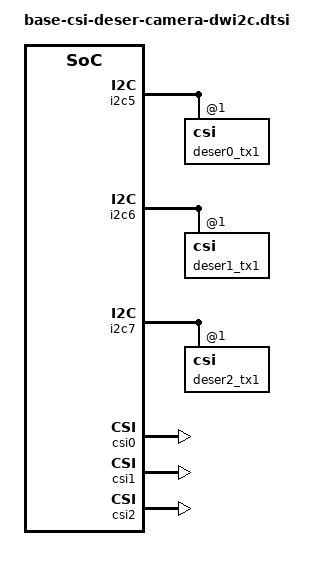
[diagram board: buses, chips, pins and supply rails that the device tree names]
#include <dt-bindings/media/bst-mdev.h>

&i2c5 {
	#address-cells = <1>;
	#size-cells = <0>;
	status = "okay";

	deser0: deser0 {
		deser0_tx1: csi@1 {
			id = <1>;
			phy-if = <IF_DPHY>;
			lane-num = <4>;
			lane-speed = <2500>;
			port {
				deser0_out1: endpoint {
				};
			};
		};

		/* Un-comments these to set CSI2 as CPHY
		deser0_tx2: csi@2 {
			id = <2>;
			phy-if = <IF_CPHY>;
			lane-num = <3>;
			lane-speed = <2000>;
			port {
				deser0_out2: endpoint {
				};
			};
		};
		*/

		deser0_rx_ports: rx-ports {
			#address-cells = <1>;
			#size-cells = <0>;

			deser0_rx0: port@0 {
				reg = <0>;
				gmsl-ver = <GMSL2>;
				rx-rate = <3>;
				endpoint {
					remote-endpoint = <&camera0_out>;
				};
			};
			deser0_rx1: port@1 {
				reg = <1>;
				gmsl-ver = <GMSL2>;
				rx-rate = <3>;
				endpoint {
					remote-endpoint = <&camera1_out>;
				};
			};
			deser0_rx2: port@2 {
				reg = <2>;
				gmsl-ver = <GMSL2>;
				rx-rate = <3>;
				endpoint {
					remote-endpoint = <&camera2_out>;
				};
			};
			deser0_rx3: port@3 {
				reg = <3>;
				gmsl-ver = <GMSL2>;
				rx-rate = <3>;
				endpoint {
					remote-endpoint = <&camera3_out>;
				};
			};
		};
	};

	camera0: camera@71 {
		reg = <0x71>;
		ser-alias = <0x11>;
		sensor-alias = <0x71>;
		status = "disabled";

		port {
			camera0_out: endpoint {
			};
		};
	};

	camera1: camera@72 {
		reg = <0x72>;
		ser-alias = <0x12>;
		sensor-alias = <0x72>;
		status = "disabled";

		port {
			camera1_out: endpoint {
			};
		};
	};

	camera2: camera@73 {
		reg = <0x73>;
		ser-alias = <0x13>;
		sensor-alias = <0x73>;
		status = "disabled";

		port {
			camera2_out: endpoint {
			};
		};
	};

	camera3: camera@74 {
		reg = <0x74>;
		ser-alias = <0x14>;
		sensor-alias = <0x74>;
		status = "disabled";

		port {
			camera3_out: endpoint {
			};
		};
	};
};

&i2c6 {
	#address-cells = <1>;
	#size-cells = <0>;
	status = "okay";

	deser1: deser1 {
		deser1_tx1: csi@1 {
			id = <1>;
			phy-if = <IF_DPHY>;
			lane-num = <4>;
			lane-speed = <2500>;
			port {
				deser1_out1: endpoint{
				};
			};
		};

		deser1_rx_ports: rx-ports {
			#address-cells = <1>;
			#size-cells = <0>;

			deser1_rx0: port@0 {
				reg = <0>;
				gmsl-ver = <GMSL2>;
				rx-rate = <3>;
				endpoint {
					remote-endpoint = <&camera4_out>;
				};
			};
			deser1_rx1: port@1 {
				reg = <1>;
				gmsl-ver = <GMSL2>;
				rx-rate = <3>;
				endpoint {
					remote-endpoint = <&camera5_out>;
				};
			};
			deser1_rx2: port@2 {
				reg = <2>;
				gmsl-ver = <GMSL2>;
				rx-rate = <3>;
				endpoint {
					remote-endpoint = <&camera6_out>;
				};
			};
			deser1_rx3: port@3 {
				reg = <3>;
				gmsl-ver = <GMSL2>;
				rx-rate = <3>;
				endpoint {
					remote-endpoint = <&camera7_out>;
				};
			};
		};
	};

	camera4: camera@71 {
		reg = <0x71>;
		ser-alias = <0x11>;
		sensor-alias = <0x71>;
		status = "disabled";

		port {
			camera4_out: endpoint {
			};
		};
	};

	camera5: camera@72 {
		reg = <0x72>;
		ser-alias = <0x12>;
		sensor-alias = <0x72>;
		status = "disabled";

		port {
			camera5_out: endpoint {
			};
		};
	};

	camera6: camera@73 {
		reg = <0x73>;
		ser-alias = <0x13>;
		sensor-alias = <0x73>;
		status = "disabled";

		port {
			camera6_out: endpoint {
			};
		};
	};

	camera7: camera@74 {
		reg = <0x74>;
		ser-alias = <0x14>;
		sensor-alias = <0x74>;
		status = "disabled";

		port {
			camera7_out: endpoint {
			};
		};
	};
};

&i2c7 {
	#address-cells = <1>;
	#size-cells = <0>;
	status = "okay";

	deser2: deser2 {
		deser2_tx1: csi@1 {
			id = <1>;
			phy-if = <IF_DPHY>;
			lane-num = <4>;
			lane-speed = <2500>;
			port {
				deser2_out1: endpoint{
				};
			};
		};

		deser2_rx_ports: rx-ports {
			#address-cells = <1>;
			#size-cells = <0>;

			deser2_rx0: port@0 {
				reg = <0>;
				gmsl-ver = <GMSL2>;
				rx-rate = <3>;
				endpoint {
					remote-endpoint = <&camera8_out>;
				};
			};
			deser2_rx1: port@1 {
				reg = <1>;
				gmsl-ver = <GMSL2>;
				rx-rate = <3>;
				endpoint {
					remote-endpoint = <&camera9_out>;
				};
			};
			deser2_rx2: port@2 {
				reg = <2>;
				gmsl-ver = <GMSL2>;
				rx-rate = <3>;
				endpoint {
					remote-endpoint = <&camera10_out>;
				};
			};
			deser2_rx3: port@3 {
				reg = <3>;
				gmsl-ver = <GMSL2>;
				rx-rate = <3>;
				endpoint {
					remote-endpoint = <&camera11_out>;
				};
			};
		};
	};

	camera8: camera@71 {
		reg = <0x71>;
		ser-alias = <0x11>;
		sensor-alias = <0x71>;
		status = "disabled";

		port {
			camera8_out: endpoint {
			};
		};
	};

	camera9: camera@72 {
		reg = <0x72>;
		ser-alias = <0x12>;
		sensor-alias = <0x72>;
		status = "disabled";

		port {
			camera9_out: endpoint {
			};
		};
	};

	camera10: camera@73 {
		reg = <0x73>;
		ser-alias = <0x13>;
		sensor-alias = <0x73>;
		status = "disabled";

		port {
			camera10_out: endpoint {
			};
		};
	};

	camera11: camera@74 {
		reg = <0x74>;
		ser-alias = <0x14>;
		sensor-alias = <0x74>;
		status = "disabled";

		port {
			camera11_out: endpoint {
			};
		};
	};
};

&csi0 {
	func-irq-enable;
	recoverable;
	status = "okay";
};
&csi1 {
	func-irq-enable;
	recoverable;
	status = "okay";
};
&csi2 {
	func-irq-enable;
	recoverable;
	status = "okay";
};
&csi0_in {
	remote-endpoint = <&deser0_out1>;
};
&csi1_in {
	remote-endpoint = <&deser1_out1>;
};
&csi2_in {
	remote-endpoint = <&deser2_out1>;
};
